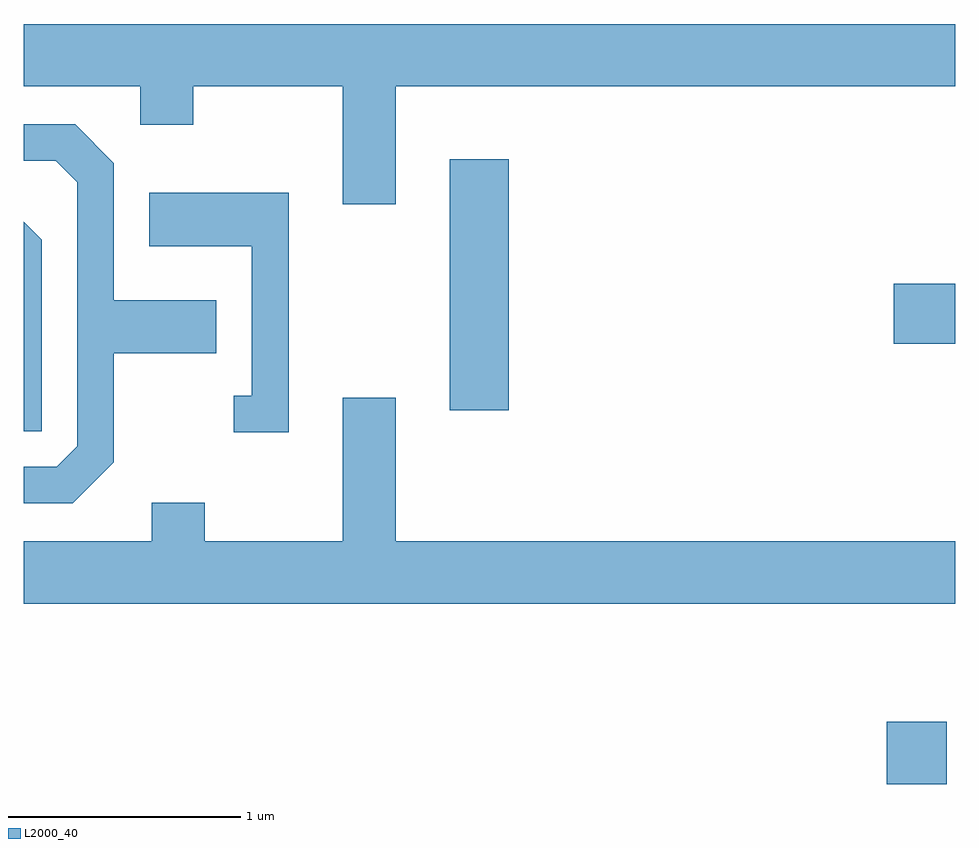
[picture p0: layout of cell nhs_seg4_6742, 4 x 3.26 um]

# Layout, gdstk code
import gdstk
lib = gdstk.Library(unit=1e-6, precision=1e-09)
def R(c, l, rs):  # rectangles x0, y0, x1, y1
    for r in rs: c.add(gdstk.rectangle(r[:2], r[2:], *l))
def P(c, l, *ps):  # polygons
    for p in ps: c.add(gdstk.Polygon(p, *l))
L2000_40 = (2000, 40)

nhs_seg4_6742 = lib.new_cell('nhs_seg4_6742')
R(nhs_seg4_6742, L2000_40, [(387.316,1273.982,387.574,1274.249), (385.441,1275.586,385.694,1276.664), (387.346,1275.871,387.611,1276.129)])
P(nhs_seg4_6742, L2000_40, [(385.209,1276.976),(387.611,1276.976),(387.611,1277.244),(383.611,1277.244),(383.611,1276.976),(384.111,1276.976),(384.111,1276.811),(384.339,1276.811),(384.339,1276.976),(384.981,1276.976),(384.981,1276.471),(385.209,1276.471)],
  [(383.999,1275.364),(383.999,1275.831),(384.439,1275.831),(384.439,1276.059),(383.999,1276.059),(383.999,1276.647),(383.832,1276.814),(383.611,1276.814),(383.611,1276.656),(383.749,1276.656),(383.841,1276.564),(383.841,1275.432),(383.754,1275.344),(383.611,1275.344),(383.611,1275.186),(383.822,1275.186)],
  [(384.749,1276.519),(384.151,1276.519),(384.151,1276.291),(384.591,1276.291),(384.591,1275.649),(384.513,1275.649),(384.513,1275.491),(384.749,1275.491)],
  [(383.689,1276.317),(383.611,1276.395),(383.611,1275.496),(383.689,1275.496)],
  [(387.611,1275.024),(385.209,1275.024),(385.209,1275.639),(384.981,1275.639),(384.981,1275.024),(384.389,1275.024),(384.389,1275.189),(384.161,1275.189),(384.161,1275.024),(383.611,1275.024),(383.611,1274.756),(387.611,1274.756)])

lib.write_gds('nhs_seg4_6742.gds')
